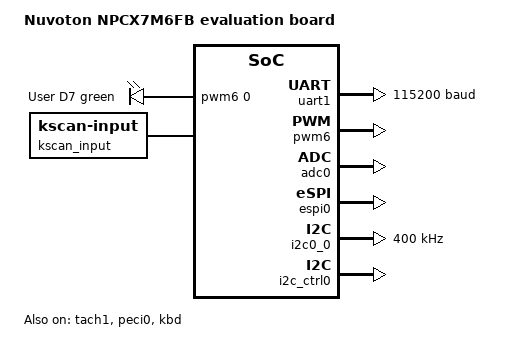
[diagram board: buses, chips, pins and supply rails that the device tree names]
/*
 * Copyright (c) 2020 Nuvoton Technology Corporation.
 *
 * SPDX-License-Identifier: Apache-2.0
 */

/dts-v1/;

#include <nuvoton/npcx7m6fb.dtsi>
#include "npcx7m6fb_evb-pinctrl.dtsi"

/ {
	model = "Nuvoton NPCX7M6FB evaluation board";

	chosen {
		zephyr,sram = &sram0;
		zephyr,console = &uart1;
		zephyr,flash = &flash0;
		zephyr,keyboard-scan = &kscan_input;
	};

	aliases {
		/* For samples/basic/blinky_pwm */
		pwm-led0 = &pwm_led0_green;
		/* For pwm test suites */
		pwm-0 = &pwm6;
		/* For i2c test suites */
		i2c-0 = &i2c0_0;
		watchdog0 = &twd0;
		peci-0 = &peci0;
		/* For kscan test suites */
		kscan0 = &kscan_input;
	};

	pwmleds {
		compatible = "pwm-leds";
		pwm_led0_green: pwm_led_0 {
			pwms = <&pwm6 0 PWM_MSEC(20) PWM_POLARITY_INVERTED>;
			label = "User D7 green";
		};
	};
};

/* Overwrite default device properties with overlays in board dt file here. */
&uart1 {
	status = "okay";
	current-speed = <115200>;
	/* Use UART1_SL2 ie. PIN64.65 */
	pinctrl-0 = <&uart1_2_sin_sout_gp64_65>;
	pinctrl-names = "default";
};

&pwm6 {
	status = "okay";
	pinctrl-0 = <&pwm6_gpc0>;
	pinctrl-names = "default";
};

&adc0 {
	status = "okay";
	/* Use adc0 channel 0 and 2 for 'adc_api' driver tests */
	pinctrl-0 = <&adc0_chan0_gp45
		     &adc0_chan2_gp43>;
	pinctrl-names = "default";
};

&espi0 {
	status = "okay";
	pinctrl-0 = <&espi_lpc_gp46_47_51_52_53_54_55_57>;
	pinctrl-names = "default";
};

&i2c0_0 {
	status = "okay";
	pinctrl-0 = <&i2c0_0_sda_scl_gpb4_b5>;
	pinctrl-names = "default";
	clock-frequency = <I2C_BITRATE_FAST>;
};

&i2c_ctrl0 {
	status = "okay";
};

&tach1 {
	status = "okay";
	pinctrl-0 = <&ta1_1_in_gp40>;
	pinctrl-names = "default";
	port = <NPCX_TACH_PORT_A>; /* port-A is selected */
	sample-clk = <NPCX_TACH_FREQ_LFCLK>; /* Use LFCLK as sampling clock */
	pulses-per-round = <1>; /* number of pulses per round of encoder */
};

&peci0 {
	status = "okay";
	pinctrl-0 = <&peci_dat_gp81>;
	pinctrl-names = "default";
};

&kbd {
	/* Demonstrate a 6 x 8 keyboard matrix on evb */
	pinctrl-0 = <&ksi0_gp31 /* KSI0 PIN31 */
		     &ksi1_gp30 /* KSI1 PIN30 */
		     &ksi2_gp27 /* KSI2 PIN27 */
		     &ksi3_gp26 /* KSI3 PIN26 */
		     &ksi4_gp25 /* KSI4 PIN25 */
		     &ksi5_gp24 /* KSI5 PIN24 */
		     &ksi6_gp23 /* KSI6 PIN23 */
		     &ksi7_gp22 /* KSI7 PIN22 */
		     &kso00_gp21 /* KSO00 PIN21 */
		     &kso01_gp20 /* KSO01 PIN20 */
		     &kso02_gp17 /* KSO02 PIN17 */
		     &kso03_gp16 /* KSO03 PIN16 */
		     &kso04_gp15 /* KSO04 PIN15 */
		     &kso05_gp14 /* KSO05 PIN14 */
		     >;
	pinctrl-names = "default";
	row-size = <8>;
	col-size = <6>;
	status = "okay";

	kscan_input: kscan-input {
		compatible = "zephyr,kscan-input";
	};
};
